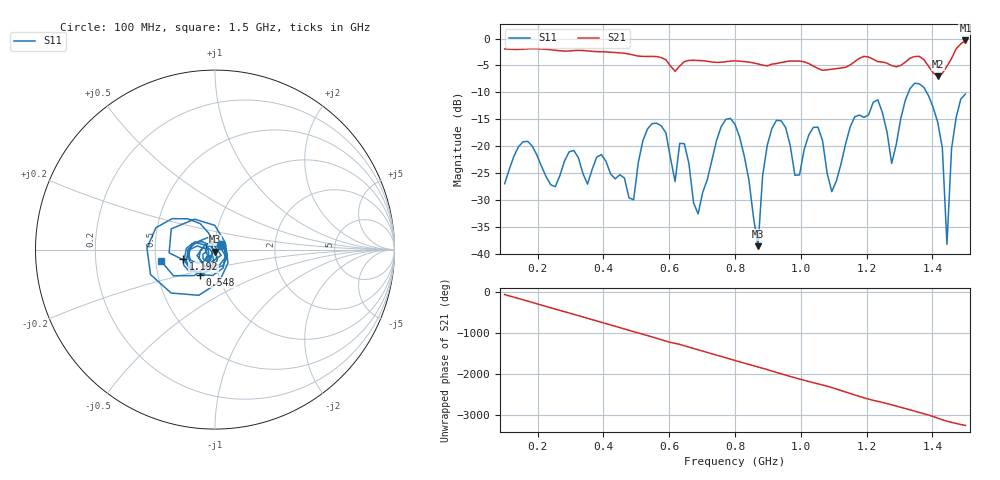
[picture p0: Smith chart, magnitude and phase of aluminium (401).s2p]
! NanoVNA-App
! Date: 2025-09-25 14:58:24
! Start: 100MHz Stop: 1,5GHz Points: 101
! S-Parameter data: F S11 S21 S12 S22
# Hz S RI R 50
!  Frequency  S11_Real  S11_Imag  S21_Real  S21_Imag  S12_Real  S12_Imag  S22_Real  S22_Imag
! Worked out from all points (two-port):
!   101 points, 100 MHz to 1.5 GHz, reference 50 ohm
!   highest |S21| = -0.35 dB at 1.5 GHz (marker M1); lowest = -7.0 dB at 1.416 GHz (marker M2)
!   |S21| within 3 dB of the highest: start of sweep to 561.5 MHz; 1.461 GHz to end of sweep (the widest 2 of 4)
!   lowest |S11| = -38.6 dB at 870 MHz (marker M3), VSWR 1.02, Z = 50.2 - j1.17 ohm
!   |S11| at or under -10 dB: start of sweep to 1.327 GHz; 1.382 GHz to end of sweep
!   S12 and S22 are empty: the file has one direction only
!   S11 on the Smith chart (normalised r, x): 100 MHz: 1.07, +0.06; 548 MHz: 0.82, -0.23; 1.192 GHz: 0.70, -0.08; 1.5 GHz: 0.54, -0.08
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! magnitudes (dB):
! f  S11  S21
! 100 MHz  -27.0  -1.9
! 156 MHz  -19.2  -2.0
! 338 MHz  -25.1  -2.2
! 492 MHz  -29.9  -3.1
! 548 MHz  -15.8  -3.3
! 576 MHz  -16.2  -3.5
! 646 MHz  -19.5  -4.3
! 688 MHz  -32.6  -4.1
! 800 MHz  -15.9  -4.2
! 870 MHz  -38.6  -4.7
! 912 MHz  -16.7  -4.7
! 982 MHz  -25.4  -4.2
! 1.038 GHz  -16.5  -5.1
! 1.094 GHz  -28.4  -5.7
! 1.192 GHz  -14.6  -3.3
! 1.234 GHz  -11.4  -4.3
! 1.276 GHz  -23.2  -5.0
! 1.346 GHz  -8.3  -3.3
! 1.416 GHz  -15.6  -7.0
! 1.444 GHz  -38.2  -5.2
! 1.458 GHz  -20.4  -3.7
! 1.5 GHz  -10.3  -0.4
